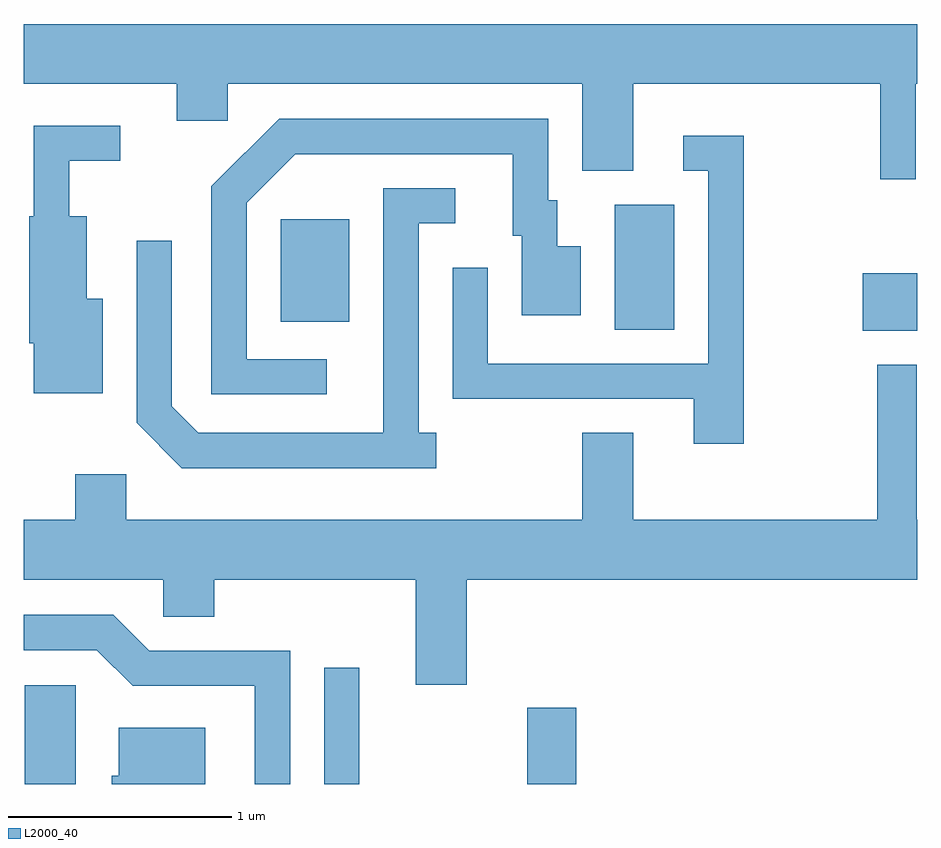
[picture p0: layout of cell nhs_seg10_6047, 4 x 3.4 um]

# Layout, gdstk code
import gdstk
lib = gdstk.Library(unit=1e-6, precision=1e-09)
def R(c, l, rs):  # rectangles x0, y0, x1, y1
    for r in rs: c.add(gdstk.rectangle(r[:2], r[2:], *l))
def P(c, l, *ps):  # polygons
    for p in ps: c.add(gdstk.Polygon(p, *l))
L2000_40 = (2000, 40)

nhs_seg10_6047 = lib.new_cell('nhs_seg10_6047')
R(nhs_seg10_6047, L2000_40, [(363.616,2148.522,363.844,2148.964), (364.956,2148.522,365.114,2149.043), (365.866,2148.522,366.084,2148.864), (367.366,2150.551,367.611,2150.809), (366.256,2150.556,366.524,2151.114), (364.761,2150.591,365.069,2151.049)])
P(nhs_seg10_6047, L2000_40, [(367.604,2151.656),(367.611,2151.656),(367.611,2151.924),(363.611,2151.924),(363.611,2151.656),(364.296,2151.656),(364.296,2151.491),(364.524,2151.491),(364.524,2151.656),(366.111,2151.656),(366.111,2151.266),(366.339,2151.266),(366.339,2151.656),(367.446,2151.656),(367.446,2151.228),(367.604,2151.228)],
  [(364.968,2150.424),(364.609,2150.424),(364.609,2151.124),(364.827,2151.341),(365.801,2151.341),(365.801,2150.976),(365.841,2150.976),(365.841,2150.621),(366.104,2150.621),(366.104,2150.929),(365.999,2150.929),(365.999,2151.134),(365.959,2151.134),(365.959,2151.499),(364.754,2151.499),(364.451,2151.197),(364.451,2150.266),(364.968,2150.266)],
  [(363.964,2150.694),(363.894,2150.694),(363.894,2151.064),(363.814,2151.064),(363.814,2151.311),(364.043,2151.311),(364.043,2151.469),(363.656,2151.469),(363.656,2151.064),(363.636,2151.064),(363.636,2150.496),(363.656,2150.496),(363.656,2150.271),(363.964,2150.271)],
  [(366.834,2151.424),(366.563,2151.424),(366.563,2151.266),(366.676,2151.266),(366.676,2150.404),(365.689,2150.404),(365.689,2150.833),(365.531,2150.833),(365.531,2150.246),(366.611,2150.246),(366.611,2150.046),(366.834,2150.046)],
  [(365.458,2150.094),(365.379,2150.094),(365.379,2151.031),(365.543,2151.031),(365.543,2151.189),(365.221,2151.189),(365.221,2150.094),(364.392,2150.094),(364.274,2150.212),(364.274,2150.953),(364.116,2150.953),(364.116,2150.139),(364.319,2149.936),(365.458,2149.936)],
  [(365.594,2149.436),(367.611,2149.436),(367.611,2149.704),(367.609,2149.704),(367.609,2150.399),(367.431,2150.399),(367.431,2149.704),(366.339,2149.704),(366.339,2150.094),(366.111,2150.094),(366.111,2149.704),(364.069,2149.704),(364.069,2149.909),(363.841,2149.909),(363.841,2149.704),(363.611,2149.704),(363.611,2149.436),(364.236,2149.436),(364.236,2149.271),(364.464,2149.271),(364.464,2149.436),(365.366,2149.436),(365.366,2148.966),(365.594,2148.966)],
  [(364.804,2149.119),(364.172,2149.119),(364.012,2149.279),(363.611,2149.279),(363.611,2149.121),(363.939,2149.121),(364.099,2148.961),(364.646,2148.961),(364.646,2148.522),(364.804,2148.522)],
  [(364.424,2148.774),(364.036,2148.774),(364.036,2148.559),(364.006,2148.559),(364.006,2148.522),(364.424,2148.522)])

lib.write_gds('nhs_seg10_6047.gds')
